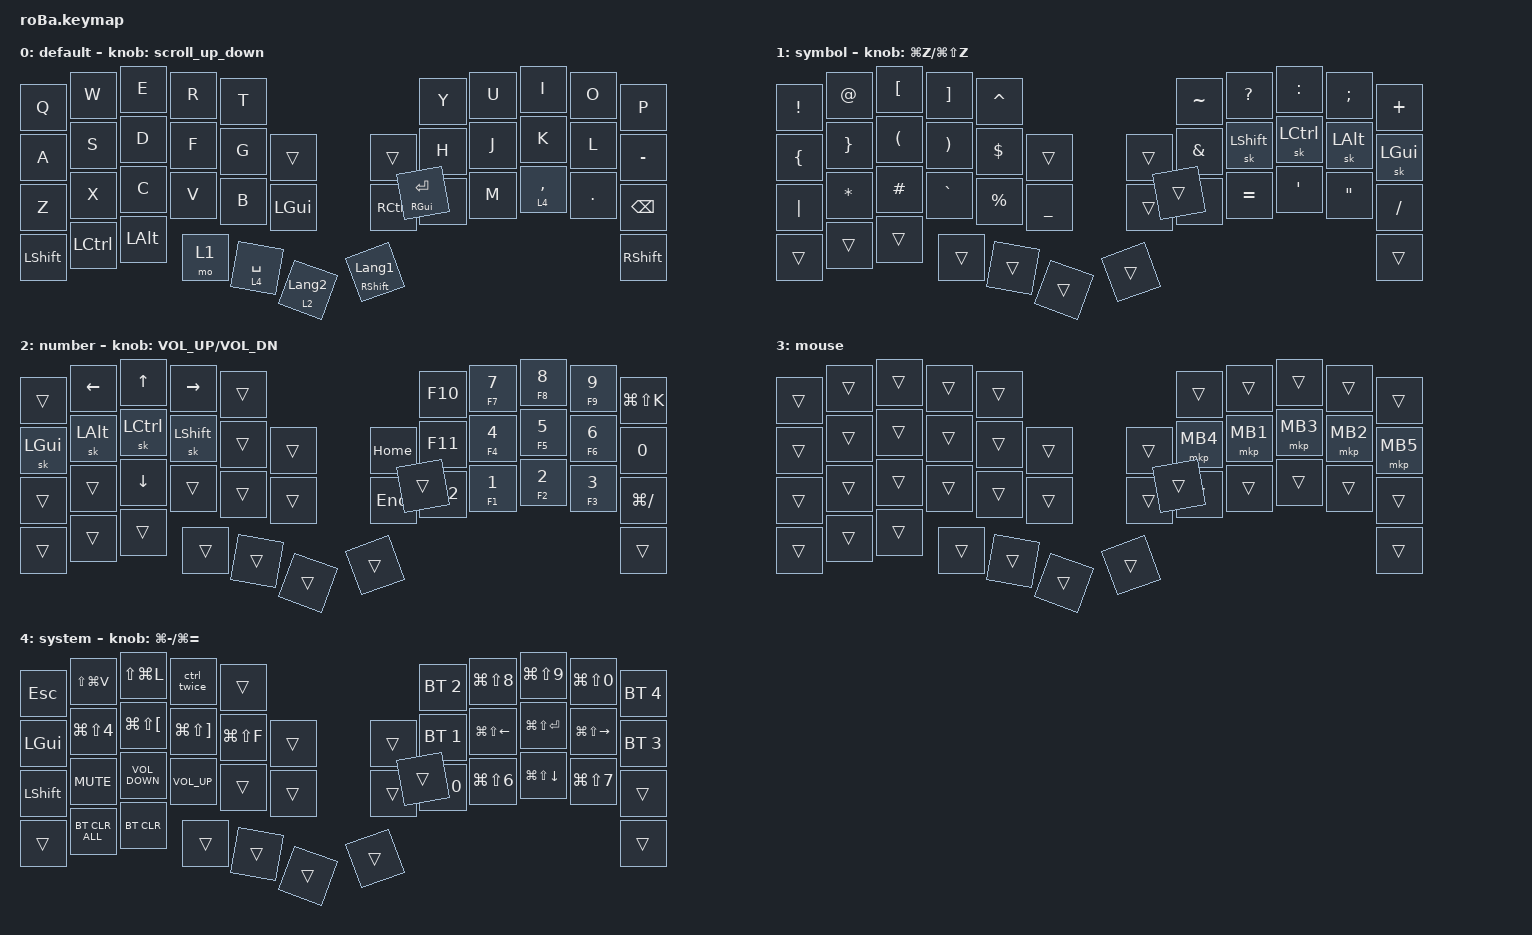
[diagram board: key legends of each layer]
// https://zmk.dev/docs/keymaps/input-processors

#include <input/processors.dtsi>
#include <behaviors.dtsi>
#include <dt-bindings/zmk/bt.h>
#include <dt-bindings/zmk/keys.h>
#include <dt-bindings/zmk/pointing.h>

#define ZMK_POINTING_DEFAULT_SCRL_VAL 250

&mt {
    flavor = "balanced";
    quick-tap-ms = <0>;

    // hold判定に入るまでの時間を少し長めに

    tapping-term-ms = <300>;
};

&trackball {
    scroll-layers = <4>;

    // arrows {
    //     layers = <3>;
    //     bindings =
    //         <&kp RIGHT_ARROW>,
    //         <&kp LEFT_ARROW>,
    //         <&kp UP_ARROW>,
    //         <&kp DOWN_ARROW>;
    //     tick = <10>;
    //     wait-ms = <5>;
    //     tap-ms = <5>;
    // };
};

&mkp_input_listener {
    // マウスキークリック時にAMLを5秒延長

    input-processors = <&zip_temp_layer 3 5000>;
};

/ {
    combos {
        compatible = "zmk,combos";

        tab {
            bindings = <&kp LS(TAB)>;
            key-positions = <11 12>;
        };

        shift_tab {
            bindings = <&kp TAB>;
            key-positions = <12 13>;
        };

        Esc {
            bindings = <&kp ESCAPE>;
            key-positions = <0 1>;
        };

        ctrl_up {
            bindings = <&kp LC(UP_ARROW)>;
            key-positions = <1 2>;
        };

        copy {
            bindings = <&kp LG(C)>;
            key-positions = <23 24>;
        };

        paste {
            bindings = <&kp LG(V)>;
            key-positions = <24 25>;
        };

        cut {
            bindings = <&kp LG(X)>;
            key-positions = <22 23>;
        };
    };

    macros {
        to_layer_0: to_layer_0 {
            compatible = "zmk,behavior-macro-one-param";
            #binding-cells = <1>;
            bindings = <&to 0 &macro_param_1to1 &kp MACRO_PLACEHOLDER>;
            label = "TO_LAYER_0";
        };

        // AMLを解除する

        exit_AML: exit_AML {
            compatible = "zmk,behavior-macro";
            wait-ms = <0>;
            tap-ms = <0>;
            #binding-cells = <0>;
            bindings = <&tog_off 3>;
            label = "exit_AML";
        };

        // Controlを2回タップする

        ctrl_twice: ctrl_twice {
            compatible = "zmk,behavior-macro";
            wait-ms = <120>;
            tap-ms = <80>;
            #binding-cells = <0>;
            bindings = <&kp LCTRL &kp LCTRL>;
            label = "CTRL_TWICE";
        };

        // キー押下後にAMLを解除する

        kp_exit_AML: kp_exit_AML {
            compatible = "zmk,behavior-macro-one-param";
            wait-ms = <0>;
            tap-ms = <0>;
            #binding-cells = <1>;
            bindings = <&macro_param_1to1 &kp MACRO_PLACEHOLDER &exit_AML>;
            label = "KP_exit_AML";
        };
    };

    behaviors {
        scroll_up_down: scroll_up_down {
            compatible = "zmk,behavior-sensor-rotate";
            #sensor-binding-cells = <0>;
            bindings = <&msc SCRL_DOWN>, <&msc SCRL_UP>;

            tap-ms = <20>;
        };

        lt_to_layer_0: lt_to_layer_0 {
            compatible = "zmk,behavior-hold-tap";
            label = "LAYER_TAP_TO_0";
            bindings = <&mo>, <&to_layer_0>;

            #binding-cells = <2>;
            tapping-term-ms = <200>;
        };

        // レイヤを無効化する

        tog_off: toggle_layer_off {
            compatible = "zmk,behavior-toggle-layer";
            #binding-cells = <1>;
            display-name = "Toggle Layer Off";
            toggle-mode = "off";
        };

        // ホールド時はkp、タップ時はkp_exit_AMLを使う
        // このbehaviorをmtの代わりに使用し、設定したキーをexcluded-positionsに入れる

        mt_exit_AML_on_tap: mt_exit_AML_on_tap {
            compatible = "zmk,behavior-hold-tap";
            label = "MT_exit_AML_ON_TAP";
            bindings = <&kp>, <&kp_exit_AML>;

            #binding-cells = <2>;
            tapping-term-ms = <200>;
            flavor = "balanced";
            quick-tap-ms = <200>;
        };

        // Home Row Mods（HRM）
        // Key positions:
        //   Row1: Q(0)  W(1)  E(2)  R(3)  T(4)  | Y(5)  U(6)  I(7)  O(8)  P(9)
        //   Row2: A(10) S(11) D(12) F(13) G(14) m(15) | m(16) H(17) J(18) K(19) L(20) -(21)
        //   Row3: Z(22) X(23) C(24) V(25) B(26) m(27) | m(28) N(29) M(30) ,(31) .(32) BS(33)
        //   Row4: LS(34) LC(35) LA(36) mo1(37) spc(38) lang2(39) | lang1(40) ent(41) RS(42)
        // Ctrl/Alt用（hold-while-undecided なし）- GACS配置: S=Alt D=Ctrl

        hml: home_row_mod_left {
            compatible = "zmk,behavior-hold-tap";
            label = "HML";
            #binding-cells = <2>;
            flavor = "balanced";
            tapping-term-ms = <280>;
            quick-tap-ms = <175>;
            require-prior-idle-ms = <200>;
            bindings = <&kp>, <&kp>;

            hold-trigger-key-positions = <5 6 7 8 9 16 17 18 19 20 21 28 29 30 31 32 33 40 41 42>;
            hold-trigger-on-release;
        };

        hmr: home_row_mod_right {
            compatible = "zmk,behavior-hold-tap";
            label = "HMR";
            #binding-cells = <2>;
            flavor = "balanced";
            tapping-term-ms = <280>;
            quick-tap-ms = <175>;
            require-prior-idle-ms = <200>;
            bindings = <&kp>, <&kp>;

            hold-trigger-key-positions = <0 1 2 3 4 10 11 12 13 14 15 22 23 24 25 26 27 34 35 36 37 38 39>;
            hold-trigger-on-release;
        };

        // Shift/GUI用（hold-while-undecided あり → マウス操作との組み合わせに即反応）- GACS配置: A=GUI F=Shift

        hml_2: home_row_mod_left_2 {
            compatible = "zmk,behavior-hold-tap";
            label = "HML_2";
            #binding-cells = <2>;
            flavor = "balanced";
            tapping-term-ms = <280>;
            quick-tap-ms = <175>;
            require-prior-idle-ms = <200>;
            bindings = <&kp>, <&kp>;

            hold-trigger-key-positions = <5 6 7 8 9 16 17 18 19 20 21 28 29 30 31 32 33 40 41 42>;
            hold-trigger-on-release;
            hold-while-undecided;
        };

        hmr_2: home_row_mod_right_2 {
            compatible = "zmk,behavior-hold-tap";
            label = "HMR_2";
            #binding-cells = <2>;
            flavor = "balanced";
            tapping-term-ms = <280>;
            quick-tap-ms = <175>;
            require-prior-idle-ms = <200>;
            bindings = <&kp>, <&kp>;

            hold-trigger-key-positions = <0 1 2 3 4 10 11 12 13 14 15 22 23 24 25 26 27 34 35 36 37 38 39>;
            hold-trigger-on-release;
            hold-while-undecided;
        };
    };

    keymap {
        compatible = "zmk,keymap";

        default {
            bindings = <
&kp Q      &kp W             &kp E         &kp R  &kp T                                                                          &kp Y                                &kp U  &kp I        &kp O    &kp P
&kp A      &kp S             &kp D         &kp F  &kp G        &trans                &trans                                      &kp H                                &kp J  &kp K        &kp L    &kp MINUS
&kp Z      &kp X             &kp C         &kp V  &kp B        &kp LEFT_GUI          &kp RIGHT_CONTROL                           &kp N                                &kp M  &lt 4 COMMA  &kp DOT  &kp BACKSPACE
&kp LSHFT  &kp LEFT_CONTROL  &kp LEFT_ALT  &mo 1  &lt 4 SPACE  &lt 2 LANGUAGE_2      &mt_exit_AML_on_tap RIGHT_SHIFT LANGUAGE_1  &mt_exit_AML_on_tap RIGHT_GUI ENTER                               &kp RIGHT_SHIFT
            >;

            sensor-bindings = <&scroll_up_down>;
        };

        symbol {
            bindings = <
&kp EXCLAMATION  &kp AT_SIGN      &kp LEFT_BRACKET      &kp RIGHT_BRACKET      &kp CARET                                &kp TILDE      &kp QUESTION    &kp COLON         &kp SEMI      &kp PLUS
&kp LEFT_BRACE   &kp RIGHT_BRACE  &kp LEFT_PARENTHESIS  &kp RIGHT_PARENTHESIS  &kp DOLLAR   &trans              &trans  &kp AMPERSAND  &sk LEFT_SHIFT  &sk LEFT_CONTROL  &sk LEFT_ALT  &sk LEFT_GUI
&kp PIPE         &kp ASTERISK     &kp HASH              &kp GRAVE              &kp PERCENT  &kp UNDERSCORE      &trans  &kp BSLH       &kp EQUAL       &kp SQT           &kp DQT       &kp FSLH
&trans           &trans           &trans                &trans                 &trans       &trans              &trans  &trans                                                         &trans
            >;

            sensor-bindings = <&inc_dec_kp LG(Z) LG(LS(Z))>;
        };

        number {
            bindings = <
&trans        &kp LEFT      &kp UP_ARROW      &kp RIGHT       &trans                        &kp F10     &mt F7 N7  &mt F8 N8  &mt F9 N9  &kp LG(LS(K))
&sk LEFT_GUI  &sk LEFT_ALT  &sk LEFT_CONTROL  &sk LEFT_SHIFT  &trans  &trans      &kp HOME  &kp F11     &mt F4 N4  &mt F5 N5  &mt F6 N6  &kp N0
&trans        &trans        &kp DOWN_ARROW    &trans          &trans  &trans      &kp END   &kp F12     &mt F1 N1  &mt F2 N2  &mt F3 N3  &kp LG(SLASH)
&trans        &trans        &trans            &trans          &trans  &trans      &trans    &trans                                       &trans
            >;

            sensor-bindings = <&inc_dec_kp C_VOL_UP C_VOL_DN>;
        };

        mouse {
            bindings = <
&trans  &trans  &trans  &trans  &trans                      &trans    &trans    &trans    &trans    &trans
&trans  &trans  &trans  &trans  &trans  &trans      &trans  &mkp MB4  &mkp MB1  &mkp MB3  &mkp MB2  &mkp MB5
&trans  &trans  &trans  &trans  &trans  &trans      &trans  &trans    &trans    &trans    &trans    &trans
&trans  &trans  &trans  &trans  &trans  &trans      &trans  &trans                                  &trans
            >;
        };

        system {
            bindings = <
&kp ESC         &kp LS(LG(V))             &kp LS(LG(L))      &ctrl_twice       &trans                             &bt BT_SEL 2  &kp LG(LS(N8))          &kp LG(LS(N9))          &kp LG(LS(N0))     &bt BT_SEL 4
&kp LEFT_GUI    &kp LG(LS(NUMBER_4))      &kp LG(LS(LBKT))   &kp LG(LS(RBKT))  &kp LG(LS(F))  &trans      &trans  &bt BT_SEL 1  &kp LG(LS(LEFT_ARROW))  &kp LG(LS(ENTER))       &kp LG(LS(RIGHT))  &bt BT_SEL 3
&kp LEFT_SHIFT  &kp K_MUTE                &kp C_VOLUME_DOWN  &kp C_VOLUME_UP   &trans         &trans      &trans  &bt BT_SEL 0  &kp LG(LS(N6))          &kp LG(LS(DOWN_ARROW))  &kp LG(LS(N7))     &trans
&trans          &bt BT_CLR_ALL            &bt BT_CLR         &trans            &trans         &trans      &trans  &trans                                                                           &trans
            >;

            sensor-bindings = <&inc_dec_kp LG(MINUS) LG(EQUAL)>;
        };
    };
};
